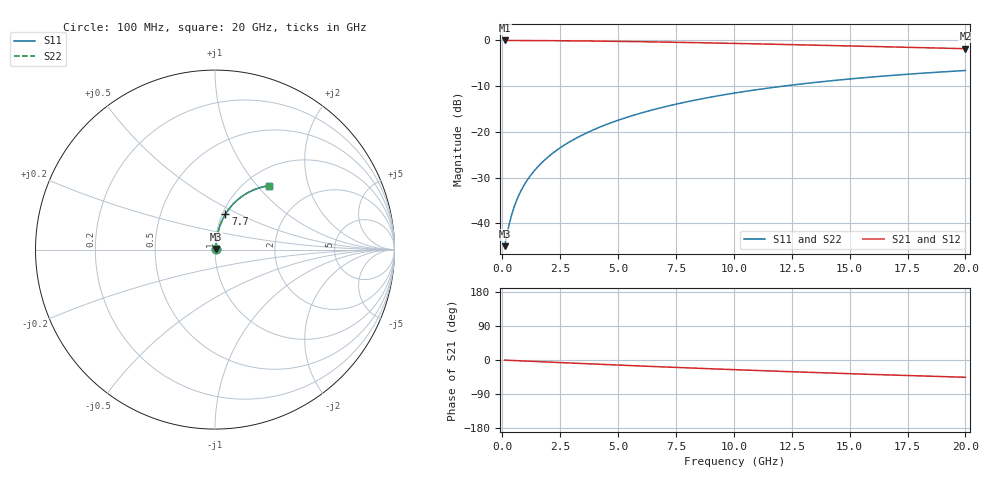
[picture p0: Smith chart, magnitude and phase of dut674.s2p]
! Touchstone file exported from HFSS 2024.1.0
!  File:  C:/UserFiles/LocalFiles/RDL_TSV_Batchsim/temp_RDL_top_674_1779782237.aedt
!  Generated:  03:59:28 PM May 26, 2026
!  Design:  RDL_top
!  Project:  temp_RDL_top_674_1779782237
!  Setup:  Setup1
!  Solution:  Sweep
! Variables:
!  dtsv = 10.80580581um
!  hbump = 3um
!  htsv = 92um
!  ldown = 100um
!  lrdl = 580.89um
!  p = 40
!  p1 = 56.17um
!  rhole = 1um
!  t = 450um
!  tdown = 3.915915916um
!  trdl = 2.5um
!  wdown = 15.38538539um
!  wrdl = 17.46um
# GHz S MA R 50.000000
! Terminal data exported
! Port[1] = Box2_T1
! Port[2] = Box2_T2
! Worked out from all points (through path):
!   200 points, 100 MHz to 20 GHz, reference 50 ohm
!   highest |S21| = -0.04 dB at 100 MHz (marker M1); lowest = -1.8 dB at 20 GHz (marker M2)
!   group delay of S21, straight-line fit = 6.32 ps
!   lowest |S11| = -45.0 dB at 100 MHz (marker M3), VSWR 1.01, Z = 50.5 + j0.286 ohm
!   |S11| at or under -10 dB: start of sweep to 12.16 GHz
!   |S22| runs from -45.0 to -6.6 dB; largest |S21 - S12| = 2.2e-15
!   S11 on the Smith chart (normalised r, x): 100 MHz: 1.01, +0.01; 7.7 GHz: 1.03, +0.43; 20 GHz: 1.28, +1.16
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0.1  0.005652 30.0  0.9951 -0.3  0.9951 -0.3  0.005652 30.0
! Gamma 0 0 0 0
! Port Impedance 50 0 50 0
0.3  0.009856 58.5  0.9948 -0.8  0.9948 -0.8  0.009856 58.5
0.4  0.01234 64.4  0.9946 -1.1  0.9946 -1.1  0.01234 64.4
0.5  0.01488 68.1  0.9944 -1.4  0.9944 -1.4  0.01488 68.1
0.6  0.01744 70.8  0.9942 -1.7  0.9942 -1.7  0.01744 70.8
0.8  0.02257 74.1  0.9937 -2.2  0.9937 -2.2  0.02257 74.1
1.1  0.03031 77.0  0.993 -3.0  0.993 -3.0  0.03031 77.0
1.3  0.03549 78.2  0.9925 -3.6  0.9925 -3.6  0.03549 78.2
1.6  0.04331 79.3  0.9916 -4.4  0.9916 -4.4  0.04331 79.3
2.1  0.05643 80.2  0.9899 -5.7  0.9899 -5.7  0.05643 80.2
2.7  0.07231 80.5  0.9873 -7.3  0.9873 -7.3  0.07231 80.5
3.5  0.09364 80.1  0.9831 -9.5  0.9831 -9.5  0.09364 80.1
4.2  0.1124 79.4  0.9786 -11.3  0.9786 -11.3  0.1124 79.4
5  0.1339 78.3  0.9728 -13.4  0.9728 -13.4  0.1339 78.3
5.9  0.1581 76.9  0.9654 -15.7  0.9654 -15.7  0.1581 76.9
6.8  0.1821 75.3  0.9574 -17.9  0.9574 -17.9  0.1821 75.3
7.7  0.2058 73.6  0.9487 -20.1  0.9487 -20.1  0.2058 73.6
10.1  0.2671 68.8  0.9234 -25.7  0.9234 -25.7  0.2671 68.8
11.7  0.3056 65.5  0.9054 -29.2  0.9054 -29.2  0.3056 65.5
13.4  0.3441 62.0  0.8857 -32.9  0.8857 -32.9  0.3441 62.0
16.7  0.411 55.6  0.847 -39.5  0.847 -39.5  0.411 55.6
20  0.4677 49.6  0.8091 -45.6  0.8091 -45.6  0.4677 49.6
